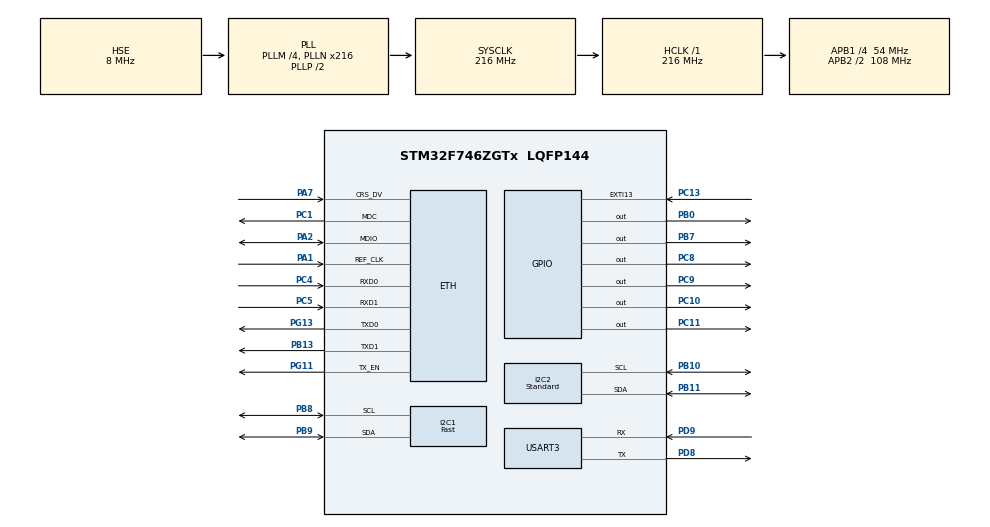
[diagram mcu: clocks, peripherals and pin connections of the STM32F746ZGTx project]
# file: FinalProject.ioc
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CORTEX_M7.CPU_DCache=Enabled
CORTEX_M7.CPU_ICache=Enabled
ETH.MediaInterface=HAL_ETH_RMII_MODE
I2C1.I2C_Speed_Mode=I2C_Fast
I2C1.Timing=0x6000030D
I2C2.I2C_Speed_Mode=I2C_Standard
I2C2.Timing=0x20404768
LWIP.BSP.number=1
LWIP.GATEWAY_ADDRESS=010.000.002.015
LWIP.IP_ADDRESS=010.000.002.010
LWIP.LWIP_DHCP=0
LWIP.LWIP_HTTPD=1
LWIP.LWIP_HTTPD_CGI=1
LWIP.MEM_SIZE=1024*10
LWIP.NETMASK_ADDRESS=255.255.255.000
LWIP.Version=v2.1.2_Cube
LWIP0.BSP.STBoard=false
LWIP0.BSP.api=BSP_COMPONENT_DRIVER
LWIP0.BSP.component=LAN8742
LWIP0.BSP.instance=LAN8742
LWIP0.BSP.name=Driver_PHY
LWIP0.BSP.semaphore=S_LAN8742
LWIP0.BSP.solution=LAN8742
Mcu.Family=STM32F7
Mcu.Name=STM32F746ZGTx
Mcu.Package=LQFP144
NVIC.EXTI15_10_IRQn=true\:0\:0\:false\:false\:true\:true\:true\:true
NVIC.PriorityGroup=NVIC_PRIORITYGROUP_4
NVIC.TIM1_UP_TIM10_IRQn=true\:0\:0\:false\:false\:true\:true\:true\:true
NVIC.TIM2_IRQn=true\:0\:0\:false\:false\:true\:true\:true\:true
NVIC.TIM3_IRQn=true\:0\:0\:false\:false\:true\:true\:true\:true
NVIC.TIM4_IRQn=true\:0\:0\:false\:false\:true\:true\:true\:true
NVIC.TIM5_IRQn=true\:0\:0\:false\:false\:true\:true\:true\:true
PA1.Mode=RMII
PA1.Signal=ETH_REF_CLK
PA2.Mode=RMII
PA2.Signal=ETH_MDIO
PA7.Mode=RMII
PA7.Signal=ETH_CRS_DV
PB0.Signal=GPIO_Output
PB10.GPIO_Pu=GPIO_PULLUP
PB10.Mode=I2C
PB10.Signal=I2C2_SCL
PB11.GPIO_Pu=GPIO_PULLUP
PB11.Mode=I2C
PB11.Signal=I2C2_SDA
PB13.Mode=RMII
PB13.Signal=ETH_TXD1
PB7.Signal=GPIO_Output
PB8.Mode=I2C
PB8.Signal=I2C1_SCL
PB9.Mode=I2C
PB9.Signal=I2C1_SDA
PC1.Mode=RMII
PC1.Signal=ETH_MDC
PC10.Signal=GPIO_Output
PC11.Signal=GPIO_Output
PC13.Signal=GPXTI13
PC14/OSC32_IN.Mode=LSE-External-Oscillator
PC14/OSC32_IN.Signal=RCC_OSC32_IN
PC15/OSC32_OUT.Mode=LSE-External-Oscillator
PC15/OSC32_OUT.Signal=RCC_OSC32_OUT
PC4.Mode=RMII
PC4.Signal=ETH_RXD0
PC5.Mode=RMII
PC5.Signal=ETH_RXD1
PC8.Signal=GPIO_Output
PC9.Signal=GPIO_Output
PD8.Mode=Asynchronous
PD8.Signal=USART3_TX
PD9.Mode=Asynchronous
PD9.Signal=USART3_RX
PG11.Mode=RMII
PG11.Signal=ETH_TX_EN
PG13.Mode=RMII
PG13.Signal=ETH_TXD0
PH0/OSC_IN.Mode=HSE-External-Clock-Source
PH0/OSC_IN.Signal=RCC_OSC_IN
PH1/OSC_OUT.Mode=HSE-External-Clock-Source
PH1/OSC_OUT.Signal=RCC_OSC_OUT
ProjectManager.HeapSize=0x200
ProjectManager.StackSize=0x400
ProjectManager.TargetToolchain=STM32CubeIDE
RCC.48MHZClocksFreq_Value=24000000
RCC.AHBFreq_Value=216000000
RCC.APB1CLKDivider=RCC_HCLK_DIV4
RCC.APB1Freq_Value=54000000
RCC.APB1TimFreq_Value=108000000
RCC.APB2CLKDivider=RCC_HCLK_DIV2
RCC.APB2Freq_Value=108000000
RCC.APB2TimFreq_Value=216000000
RCC.CortexFreq_Value=216000000
RCC.HCLKFreq_Value=216000000
RCC.HSE_VALUE=8000000
RCC.HSI_VALUE=16000000
RCC.PLLM=4
RCC.PLLMUL=RCC_PLL_MUL9
RCC.PLLN=216
RCC.PLLSourceVirtual=RCC_PLLSOURCE_HSE
RCC.PRESCALERUSB=RCC_USBCLKSOURCE_PLL_DIV1_5
RCC.SYSCLKFreq_VALUE=216000000
RCC.SYSCLKSource=RCC_SYSCLKSOURCE_PLLCLK
RCC.SYSCLKSourceVirtual=RCC_SYSCLKSOURCE_PLLCLK
RCC.USBFreq_Value=216000000
RCC.VCOOutputFreq_Value=432000000
TIM1.Period=50000-1
TIM1.Prescaler=43200-1
TIM2.AutoReloadPreload=TIM_AUTORELOAD_PRELOAD_ENABLE
TIM2.Period=21600000-1
TIM2.Prescaler=0
TIM3.AutoReloadPreload=TIM_AUTORELOAD_PRELOAD_DISABLE
TIM3.Period=10000-1
TIM3.Prescaler=43200-1
TIM4.AutoReloadPreload=TIM_AUTORELOAD_PRELOAD_ENABLE
TIM4.Period=25500-1
TIM4.Prescaler=49463-1
TIM5.AutoReloadPreload=TIM_AUTORELOAD_PRELOAD_DISABLE
TIM5.Period=10000-1
TIM5.Prescaler=43200-1
USART3.VirtualMode-Asynchronous=VM_ASYNC
VP_LWIP_VS_Enabled.Mode=Enabled
VP_TIM1_VS_ClockSourceINT.Mode=Internal
VP_TIM2_VS_ClockSourceINT.Mode=Internal
VP_TIM3_VS_ClockSourceINT.Mode=Internal
VP_TIM4_VS_ClockSourceINT.Mode=Internal
VP_TIM5_VS_ClockSourceINT.Mode=Internal
board=NUCLEO-F746ZG

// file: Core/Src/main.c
/*
 *  MAIN FILE
 *  Author: GateKeeper
 *  Copyright (C) 2024
*/

/* USER CODE BEGIN Header */
/* USER CODE END Header */

#include "main.h"
#include "lwip.h"

/* USER CODE BEGIN Includes */
#include "string.h"
#include "stdio.h"
#include "math.h"
#include "bme680.h"
#include "bme680_defs.h"
#include "http_ssi.h"
#include "lwip/apps/httpd.h"
#include "pn532.h"
#include "pn532_stm32f1.h"
#include "udpClientRAW.h"
#include "IPs.h"
/* USER CODE END Includes */

I2C_HandleTypeDef hi2c1;
I2C_HandleTypeDef hi2c2;

TIM_HandleTypeDef htim1;
TIM_HandleTypeDef htim2;
TIM_HandleTypeDef htim3;
TIM_HandleTypeDef htim4;
TIM_HandleTypeDef htim5;

UART_HandleTypeDef huart3;

/* USER CODE BEGIN PV */

// BME680 Variables
int8_t rslt = BME680_OK;
int IAQ;
struct bme680_dev gas_sensor;
int gas_target = 30000;
int BME_Presence = 0; // Means BME is off

// RFID PN532 Variables
PN532 pn532;
struct bme680_field_data data; // Sampling results variable
uint8_t buff[255];
int32_t uid_len = 0;
uint8_t uid[MIFARE_UID_MAX_LENGTH];
uint8_t key_a[] = {0xFF, 0xFF, 0xFF, 0xFF, 0xFF, 0xFF};
uint32_t pn532_error = PN532_ERROR_NONE;
int RFID_Presence = 0; // Means RFID reader is off
int TAG_Read = 0;

// Server Status Variables
int client_connected = 0;
int message_type;
struct udp_pcb *upcb;
int emergencyFlag = 0;
int People_Counter = 0;

/* USER CODE END PV */

void SystemClock_Config(void);
static void MX_GPIO_Init(void);
static void MX_I2C1_Init(void);
static void MX_USART3_UART_Init(void);
static void MX_TIM1_Init(void);
static void MX_I2C2_Init(void);
static void MX_TIM3_Init(void);
static void MX_TIM2_Init(void);
static void MX_TIM4_Init(void);
static void MX_TIM5_Init(void);
/* USER CODE BEGIN PFP */

// BME680 Forward Declarations
int8_t bme680I2cRead(uint8_t dev_id, uint8_t reg_addr, uint8_t *reg_data, uint16_t len);
int8_t bme680I2cWrite(uint8_t dev_id, uint8_t reg_addr, uint8_t *reg_data, uint16_t len);

// Functions Declarations
void BME680_Initialize();
void RFID_PN532_Initialize();
void Open_Door(int emergency, int InOut);

#ifdef __GNUC__
#define PUTCHAR_PROTOTYPE int __io_putchar(int ch)
#else
#define PUTCHAR_PROTOTYPE int fputc(int ch, FILE *f)
#endif

PUTCHAR_PROTOTYPE
{
  HAL_UART_Transmit(&huart3, (uint8_t *)&ch, 1, HAL_MAX_DELAY);
  return ch;
}

/* USER CODE END PFP */

int main(void)
{

  /* Enable the CPU Cache */

  /* Enable I-Cache---------------------------------------------------------*/
  SCB_EnableICache();

  /* Enable D-Cache---------------------------------------------------------*/
  SCB_EnableDCache();

  /* MCU Configuration--------------------------------------------------------*/

  /* Reset of all peripherals, Initializes the Flash interface and the Systick. */
  HAL_Init();

  /* Configure the system clock */
  SystemClock_Config();

  /* Initialize all configured peripherals */
  MX_GPIO_Init();
  MX_LWIP_Init();
  MX_I2C1_Init();
  MX_USART3_UART_Init();
  MX_TIM1_Init();
  MX_I2C2_Init();
  MX_TIM3_Init();
  MX_TIM2_Init();
  MX_TIM4_Init();
  MX_TIM5_Init();
  /* USER CODE BEGIN 2 */

  extern struct netif gnetif;
  http_server_init();
  HAL_TIM_Base_Start_IT(&htim1);

  // ----------------------- DEVICES CONFIG START -----------------------
  BME680_Initialize();
  RFID_PN532_Initialize();
  int HTML_Server_ON = 1;
  // ------------------------ DEVICES CONFIG END ------------------------

  // ------------------ IP WEBSITE CONFIG START -------------------
  if (HTML_Server_ON) {
	  printf("\n\rActual board IP:");
	  printf("\n\rIPv4: %d.%d.%d.%d",ipv4_address[0],ipv4_address[1],ipv4_address[2],ipv4_address[3]);
	  printf("\n\rMask: %d.%d.%d.%d",mask_address[0],mask_address[1],mask_address[2],mask_address[3]);
	  printf("\n\rGateway: %d.%d.%d.%d\n\r",gateway_address[0],gateway_address[1],gateway_address[2],gateway_address[3]);
	  do {
		  ethernetif_input(&gnetif);
		  MX_LWIP_Process();
	  } while(changed_ip_status == 0);
	  printf("\n\rNew board IP:");
	  printf("\n\rIPv4: %d.%d.%d.%d",ipv4_address[0],ipv4_address[1],ipv4_address[2],ipv4_address[3]);
	  printf("\n\rMask: %d.%d.%d.%d",mask_address[0],mask_address[1],mask_address[2],mask_address[3]);
	  printf("\n\rGateway: %d.%d.%d.%d\n\r",gateway_address[0],gateway_address[1],gateway_address[2],gateway_address[3]);
	  // -------------------- IP WEBSITE CONFIG END --------------------
	  netif_remove(&gnetif);
	  MX_LWIP_Init();
	  udpClient_connect();
  }

  HAL_TIM_Base_Start_IT(&htim2);
  HAL_TIM_Base_Start_IT(&htim3);
  HAL_TIM_Base_Start_IT(&htim4);
  HAL_TIM_Base_Start_IT(&htim5);
  /* USER CODE END 2 */

  /* Infinite loop */
  /* USER CODE BEGIN WHILE */

  while (1) {
	  ethernetif_input(&gnetif);
	  sys_check_timeouts();
	  if(RFID_Presence == 1 || client_connected == 1) {
		uid_len = PN532_ReadPassiveTarget(&pn532, uid, PN532_MIFARE_ISO14443A, 1000);
		if (uid_len != PN532_STATUS_ERROR) {
			// Uncomment below if want to read UID without the memory blocks
			/*printf("Found card with UID: ");
			  memset(message,0,keyLen);
			  for (uint8_t i = 0; i < uid_len; i++) {
				printf("%02x ", uid[i]);
				sprintf(message,"%s%02x",message,uid[i]);
			  }*/
		  memset(message, 0, keyLen);
		  for (uint8_t block_number = 0; block_number < 1; block_number++) {
			pn532_error = PN532_MifareClassicAuthenticateBlock(&pn532, uid, uid_len, block_number, MIFARE_CMD_AUTH_A, key_a);
			if (pn532_error != PN532_ERROR_NONE) break;
			pn532_error = PN532_MifareClassicReadBlock(&pn532, buff, block_number);
			if (pn532_error != PN532_ERROR_NONE) break;
			if ((pn532_error != 0x02) &&  (buff[0] != 0x00 && buff[1] != 0x00)) {	// Verifies if there were not any errors during the block reading
				TAG_Read = 1;	// A tag is being read
				printf("%d: ", block_number);
			    for (uint8_t i = 0; i < 16; i++) {
				  printf("%02x ", buff[i]);
				  sprintf(message,"%s%02x",message,buff[i]);
			    }
			    printf("\r\n");
			} else {
				break;
			}
		  }
		  message_type = 1;	// Message will be sent has ID Information
		  if (TAG_Read == 1) {
			  if (HTML_Server_ON) udpClient_send();
			  RFID_Received = 0;	// It will wait for a reply from the server
			  HAL_Delay(1000);
			  TAG_Read = 0;	// A new card is now ready to be read
		  }
		}
	  }

    /* USER CODE END WHILE */

  }
}

void SystemClock_Config(void)
{
  RCC_OscInitTypeDef RCC_OscInitStruct = {0};
  RCC_ClkInitTypeDef RCC_ClkInitStruct = {0};

  /** Configure LSE Drive Capability
  */
  HAL_PWR_EnableBkUpAccess();

  /** Configure the main internal regulator output voltage
  */
  __HAL_RCC_PWR_CLK_ENABLE();
  __HAL_PWR_VOLTAGESCALING_CONFIG(PWR_REGULATOR_VOLTAGE_SCALE1);

  /** Initializes the RCC Oscillators according to the specified parameters
  * in the RCC_OscInitTypeDef structure.
  */
  RCC_OscInitStruct.OscillatorType = RCC_OSCILLATORTYPE_HSE;
  RCC_OscInitStruct.HSEState = RCC_HSE_BYPASS;
  RCC_OscInitStruct.PLL.PLLState = RCC_PLL_ON;
  RCC_OscInitStruct.PLL.PLLSource = RCC_PLLSOURCE_HSE;
  RCC_OscInitStruct.PLL.PLLM = 4;
  RCC_OscInitStruct.PLL.PLLN = 216;
  RCC_OscInitStruct.PLL.PLLP = RCC_PLLP_DIV2;
  RCC_OscInitStruct.PLL.PLLQ = 2;
  if (HAL_RCC_OscConfig(&RCC_OscInitStruct) != HAL_OK)
  {
    Error_Handler();
  }

  /** Activate the Over-Drive mode
  */
  if (HAL_PWREx_EnableOverDrive() != HAL_OK)
  {
    Error_Handler();
  }

  /** Initializes the CPU, AHB and APB buses clocks
  */
  RCC_ClkInitStruct.ClockType = RCC_CLOCKTYPE_HCLK|RCC_CLOCKTYPE_SYSCLK
                              |RCC_CLOCKTYPE_PCLK1|RCC_CLOCKTYPE_PCLK2;
  RCC_ClkInitStruct.SYSCLKSource = RCC_SYSCLKSOURCE_PLLCLK;
  RCC_ClkInitStruct.AHBCLKDivider = RCC_SYSCLK_DIV1;
  RCC_ClkInitStruct.APB1CLKDivider = RCC_HCLK_DIV4;
  RCC_ClkInitStruct.APB2CLKDivider = RCC_HCLK_DIV2;

  if (HAL_RCC_ClockConfig(&RCC_ClkInitStruct, FLASH_LATENCY_7) != HAL_OK)
  {
    Error_Handler();
  }
}

static void MX_I2C1_Init(void)
{

  hi2c1.Instance = I2C1;
  hi2c1.Init.Timing = 0x6000030D;
  hi2c1.Init.OwnAddress1 = 0;
  hi2c1.Init.AddressingMode = I2C_ADDRESSINGMODE_7BIT;
  hi2c1.Init.DualAddressMode = I2C_DUALADDRESS_DISABLE;
  hi2c1.Init.OwnAddress2 = 0;
  hi2c1.Init.OwnAddress2Masks = I2C_OA2_NOMASK;
  hi2c1.Init.GeneralCallMode = I2C_GENERALCALL_DISABLE;
  hi2c1.Init.NoStretchMode = I2C_NOSTRETCH_DISABLE;
  if (HAL_I2C_Init(&hi2c1) != HAL_OK)
  {
    Error_Handler();
  }

  /** Configure Analogue filter
  */
  if (HAL_I2CEx_ConfigAnalogFilter(&hi2c1, I2C_ANALOGFILTER_ENABLE) != HAL_OK)
  {
    Error_Handler();
  }

  /** Configure Digital filter
  */
  if (HAL_I2CEx_ConfigDigitalFilter(&hi2c1, 0) != HAL_OK)
  {
    Error_Handler();
  }

}

static void MX_I2C2_Init(void)
{

  hi2c2.Instance = I2C2;
  hi2c2.Init.Timing = 0x20404768;
  hi2c2.Init.OwnAddress1 = 0;
  hi2c2.Init.AddressingMode = I2C_ADDRESSINGMODE_7BIT;
  hi2c2.Init.DualAddressMode = I2C_DUALADDRESS_DISABLE;
  hi2c2.Init.OwnAddress2 = 0;
  hi2c2.Init.OwnAddress2Masks = I2C_OA2_NOMASK;
  hi2c2.Init.GeneralCallMode = I2C_GENERALCALL_DISABLE;
  hi2c2.Init.NoStretchMode = I2C_NOSTRETCH_DISABLE;
  if (HAL_I2C_Init(&hi2c2) != HAL_OK)
  {
    Error_Handler();
  }

  /** Configure Analogue filter
  */
  if (HAL_I2CEx_ConfigAnalogFilter(&hi2c2, I2C_ANALOGFILTER_ENABLE) != HAL_OK)
  {
    Error_Handler();
  }

  /** Configure Digital filter
  */
  if (HAL_I2CEx_ConfigDigitalFilter(&hi2c2, 0) != HAL_OK)
  {
    Error_Handler();
  }

}

static void MX_TIM1_Init(void)
{

  TIM_ClockConfigTypeDef sClockSourceConfig = {0};
  TIM_MasterConfigTypeDef sMasterConfig = {0};

  htim1.Instance = TIM1;
  htim1.Init.Prescaler = 43200-1;
  htim1.Init.CounterMode = TIM_COUNTERMODE_UP;
  htim1.Init.Period = 50000-1;
  htim1.Init.ClockDivision = TIM_CLOCKDIVISION_DIV1;
  htim1.Init.RepetitionCounter = 0;
  htim1.Init.AutoReloadPreload = TIM_AUTORELOAD_PRELOAD_DISABLE;
  if (HAL_TIM_Base_Init(&htim1) != HAL_OK)
  {
    Error_Handler();
  }
  sClockSourceConfig.ClockSource = TIM_CLOCKSOURCE_INTERNAL;
  if (HAL_TIM_ConfigClockSource(&htim1, &sClockSourceConfig) != HAL_OK)
  {
    Error_Handler();
  }
  sMasterConfig.MasterOutputTrigger = TIM_TRGO_RESET;
  sMasterConfig.MasterOutputTrigger2 = TIM_TRGO2_RESET;
  sMasterConfig.MasterSlaveMode = TIM_MASTERSLAVEMODE_DISABLE;
  if (HAL_TIMEx_MasterConfigSynchronization(&htim1, &sMasterConfig) != HAL_OK)
  {
    Error_Handler();
  }

}

static void MX_TIM2_Init(void)
{

  TIM_ClockConfigTypeDef sClockSourceConfig = {0};
  TIM_MasterConfigTypeDef sMasterConfig = {0};

  htim2.Instance = TIM2;
  htim2.Init.Prescaler = 0;
  htim2.Init.CounterMode = TIM_COUNTERMODE_UP;
  htim2.Init.Period = 21600000-1;
  htim2.Init.ClockDivision = TIM_CLOCKDIVISION_DIV1;
  htim2.Init.AutoReloadPreload = TIM_AUTORELOAD_PRELOAD_ENABLE;
  if (HAL_TIM_Base_Init(&htim2) != HAL_OK)
  {
    Error_Handler();
  }
  sClockSourceConfig.ClockSource = TIM_CLOCKSOURCE_INTERNAL;
  if (HAL_TIM_ConfigClockSource(&htim2, &sClockSourceConfig) != HAL_OK)
  {
    Error_Handler();
  }
  sMasterConfig.MasterOutputTrigger = TIM_TRGO_RESET;
  sMasterConfig.MasterSlaveMode = TIM_MASTERSLAVEMODE_DISABLE;
  if (HAL_TIMEx_MasterConfigSynchronization(&htim2, &sMasterConfig) != HAL_OK)
  {
    Error_Handler();
  }

}

static void MX_TIM3_Init(void)
{

  TIM_ClockConfigTypeDef sClockSourceConfig = {0};
  TIM_MasterConfigTypeDef sMasterConfig = {0};

  htim3.Instance = TIM3;
  htim3.Init.Prescaler = 43200-1;
  htim3.Init.CounterMode = TIM_COUNTERMODE_UP;
  htim3.Init.Period = 10000-1;
  htim3.Init.ClockDivision = TIM_CLOCKDIVISION_DIV1;
  htim3.Init.AutoReloadPreload = TIM_AUTORELOAD_PRELOAD_DISABLE;
  if (HAL_TIM_Base_Init(&htim3) != HAL_OK)
  {
    Error_Handler();
  }
  sClockSourceConfig.ClockSource = TIM_CLOCKSOURCE_INTERNAL;
  if (HAL_TIM_ConfigClockSource(&htim3, &sClockSourceConfig) != HAL_OK)
  {
    Error_Handler();
  }
  sMasterConfig.MasterOutputTrigger = TIM_TRGO_RESET;
  sMasterConfig.MasterSlaveMode = TIM_MASTERSLAVEMODE_DISABLE;
  if (HAL_TIMEx_MasterConfigSynchronization(&htim3, &sMasterConfig) != HAL_OK)
  {
    Error_Handler();
  }

}

static void MX_TIM4_Init(void)
{

  TIM_ClockConfigTypeDef sClockSourceConfig = {0};
  TIM_MasterConfigTypeDef sMasterConfig = {0};

  htim4.Instance = TIM4;
  htim4.Init.Prescaler = 49463-1;
  htim4.Init.CounterMode = TIM_COUNTERMODE_UP;
  htim4.Init.Period = 25500-1;
  htim4.Init.ClockDivision = TIM_CLOCKDIVISION_DIV1;
  htim4.Init.AutoReloadPreload = TIM_AUTORELOAD_PRELOAD_ENABLE;
  if (HAL_TIM_Base_Init(&htim4) != HAL_OK)
  {
    Error_Handler();
  }
  sClockSourceConfig.ClockSource = TIM_CLOCKSOURCE_INTERNAL;
  if (HAL_TIM_ConfigClockSource(&htim4, &sClockSourceConfig) != HAL_OK)
  {
    Error_Handler();
  }
  sMasterConfig.MasterOutputTrigger = TIM_TRGO_RESET;
  sMasterConfig.MasterSlaveMode = TIM_MASTERSLAVEMODE_DISABLE;
  if (HAL_TIMEx_MasterConfigSynchronization(&htim4, &sMasterConfig) != HAL_OK)
  {
    Error_Handler();
  }

}

static void MX_TIM5_Init(void)
{

  TIM_ClockConfigTypeDef sClockSourceConfig = {0};
  TIM_MasterConfigTypeDef sMasterConfig = {0};

  htim5.Instance = TIM5;
  htim5.Init.Prescaler = 43200-1;
  htim5.Init.CounterMode = TIM_COUNTERMODE_UP;
  htim5.Init.Period = 10000-1;
  htim5.Init.ClockDivision = TIM_CLOCKDIVISION_DIV1;
  htim5.Init.AutoReloadPreload = TIM_AUTORELOAD_PRELOAD_DISABLE;
  if (HAL_TIM_Base_Init(&htim5) != HAL_OK)
  {
    Error_Handler();
  }
  sClockSourceConfig.ClockSource = TIM_CLOCKSOURCE_INTERNAL;
  if (HAL_TIM_ConfigClockSource(&htim5, &sClockSourceConfig) != HAL_OK)
  {
    Error_Handler();
  }
  sMasterConfig.MasterOutputTrigger = TIM_TRGO_RESET;
  sMasterConfig.MasterSlaveMode = TIM_MASTERSLAVEMODE_DISABLE;
  if (HAL_TIMEx_MasterConfigSynchronization(&htim5, &sMasterConfig) != HAL_OK)
  {
    Error_Handler();
  }

}

static void MX_USART3_UART_Init(void)
{

  huart3.Instance = USART3;
  huart3.Init.BaudRate = 115200;
  huart3.Init.WordLength = UART_WORDLENGTH_8B;
  huart3.Init.StopBits = UART_STOPBITS_1;
  huart3.Init.Parity = UART_PARITY_NONE;
  huart3.Init.Mode = UART_MODE_TX_RX;
  huart3.Init.HwFlowCtl = UART_HWCONTROL_NONE;
  huart3.Init.OverSampling = UART_OVERSAMPLING_16;
  huart3.Init.OneBitSampling = UART_ONE_BIT_SAMPLE_DISABLE;
  huart3.AdvancedInit.AdvFeatureInit = UART_ADVFEATURE_NO_INIT;
  if (HAL_UART_Init(&huart3) != HAL_OK)
  {
    Error_Handler();
  }

}

static void MX_GPIO_Init(void)
{
  GPIO_InitTypeDef GPIO_InitStruct = {0};

  /* GPIO Ports Clock Enable */
  __HAL_RCC_GPIOC_CLK_ENABLE();
  __HAL_RCC_GPIOH_CLK_ENABLE();
  __HAL_RCC_GPIOA_CLK_ENABLE();
  __HAL_RCC_GPIOB_CLK_ENABLE();
  __HAL_RCC_GPIOD_CLK_ENABLE();
  __HAL_RCC_GPIOG_CLK_ENABLE();

  /*Configure GPIO pin Output Level */
  HAL_GPIO_WritePin(GPIOB, GPIO_PIN_0|GPIO_PIN_7, GPIO_PIN_RESET);

  /*Configure GPIO pin Output Level */
  HAL_GPIO_WritePin(GPIOC, GPIO_PIN_8|GPIO_PIN_9|GPIO_PIN_10|GPIO_PIN_11, GPIO_PIN_RESET);

  /*Configure GPIO pin : PC13 */
  GPIO_InitStruct.Pin = GPIO_PIN_13;
  GPIO_InitStruct.Mode = GPIO_MODE_IT_RISING;
  GPIO_InitStruct.Pull = GPIO_NOPULL;
  HAL_GPIO_Init(GPIOC, &GPIO_InitStruct);

  /*Configure GPIO pins : PB0 PB7 */
  GPIO_InitStruct.Pin = GPIO_PIN_0|GPIO_PIN_7;
  GPIO_InitStruct.Mode = GPIO_MODE_OUTPUT_PP;
  GPIO_InitStruct.Pull = GPIO_NOPULL;
  GPIO_InitStruct.Speed = GPIO_SPEED_FREQ_LOW;
  HAL_GPIO_Init(GPIOB, &GPIO_InitStruct);

  /*Configure GPIO pins : PC8 PC9 PC10 PC11 */
  GPIO_InitStruct.Pin = GPIO_PIN_8|GPIO_PIN_9|GPIO_PIN_10|GPIO_PIN_11;
  GPIO_InitStruct.Mode = GPIO_MODE_OUTPUT_PP;
  GPIO_InitStruct.Pull = GPIO_NOPULL;
  GPIO_InitStruct.Speed = GPIO_SPEED_FREQ_LOW;
  HAL_GPIO_Init(GPIOC, &GPIO_InitStruct);

  /* EXTI interrupt init*/
  HAL_NVIC_SetPriority(EXTI15_10_IRQn, 0, 0);
  HAL_NVIC_EnableIRQ(EXTI15_10_IRQn);

}

/* USER CODE BEGIN 4 */

void HAL_TIM_PeriodElapsedCallback(TIM_HandleTypeDef *htim)
{
  // Check which version of the timer triggered this callback

  if (htim == &htim1 && BME_Presence == 1)	// 10 sec timer to read BME data
  {
	// Query the sample data
	rslt = bme680_get_sensor_data(&data, &gas_sensor);

	printf("\n\r----------Data read----------");
	printf("\n\rTemperature:    %.2fºC", data.temperature / 100.0f);
	printf("\n\rAtm. Pressure:  %.2f hPa", data.pressure / 100.0f);
	printf("\n\rHumidity:       %.2f %%", data.humidity / 1000.0f );
	printf("\n\rGas Resistance: %ld ohms", data.gas_resistance);

	IAQ = CalculateIAQ(data.temperature,data.humidity,data.gas_resistance);

	if (IAQ <= 2 && client_connected == 1) {	// IAQ less than 3 is a bad air quality, mandatory to trigger the Emergency System
		sprintf(message,"9Emergency\0");
		udpClient_send();
	}

	printf("\n\rAir Quality:    %d", IAQ);
	printf("\n\r-----------------------------\n\r");
	sprintf(message,"2%d %d %d %d %d \0",data.temperature,data.pressure,data.humidity,IAQ,People_Counter);
	//printf("\n\rMessage to send: %s\n\r",message);
	if (client_connected == 1) {
		message_type = 2;
		udpClient_send();
	}

	// Request the next sample
	if (gas_sensor.power_mode == BME680_FORCED_MODE) {
	  rslt = bme680_set_sensor_mode(&gas_sensor);
	}

  }

  if(htim == &htim2) {	// 100 msec timer to read any Emergency situation that can be sent by the server
	  receiver();
  }

  if(htim == &htim3) {	// 5 sec timer to close the door after it has been opened
	  // Close door and restore the normal state
	  //HAL_GPIO_WritePin(GPIOB,GPIO_PIN_0,0);
	  HAL_GPIO_WritePin(GPIOC,GPIO_PIN_8,0);
	  HAL_GPIO_WritePin(GPIOC,GPIO_PIN_9,0);
	  HAL_GPIO_WritePin(GPIOC,GPIO_PIN_10,0);
	  HAL_TIM_Base_Stop(&htim3);
  }

  if(htim == &htim4) {	// 15 sec timer to cancel the Emergency System
	  // Cancel Emergency and restore the normal state
	  emergencyFlag = 0;	// Disable Emergency Flag
	  //HAL_GPIO_WritePin(GPIOB,GPIO_PIN_0,0);
  	  HAL_GPIO_WritePin(GPIOC,GPIO_PIN_8,0);
  	  HAL_GPIO_WritePin(GPIOC,GPIO_PIN_9,0);
  	  HAL_GPIO_WritePin(GPIOC,GPIO_PIN_10,0);
  	  HAL_TIM_Base_Stop(&htim4);
  }

  if(htim == &htim5) {	// 5 sec timer to turn off the Not Access Led
	  HAL_GPIO_WritePin(GPIOC,GPIO_PIN_11,0);
	  HAL_TIM_Base_Stop(&htim5);
  }
}

int8_t bme680I2cRead(uint8_t dev_id, uint8_t reg_addr, uint8_t *reg_data, uint16_t len) {
  int8_t result;

  if (HAL_I2C_Master_Transmit(&hi2c1, (dev_id << 1), &reg_addr, 1, HAL_MAX_DELAY) != HAL_OK) {
	result = -1;
  } else if (HAL_I2C_Master_Receive (&hi2c1, (dev_id << 1) | 0x01, reg_data, len, HAL_MAX_DELAY) != HAL_OK) {
	result = -1;
  } else {
	result = 0;
  }

  return result;
}

int8_t bme680I2cWrite(uint8_t dev_id, uint8_t reg_addr, uint8_t *reg_data, uint16_t len) {
  int8_t result;
  int8_t *buf;

  // Allocate and load I2C transmit buffer
  buf = malloc(len + 1);
  buf[0] = reg_addr;
  memcpy(buf + 1, reg_data, len);

  if (HAL_I2C_Master_Transmit(&hi2c1, (dev_id << 1), (uint8_t *) buf, len + 1, HAL_MAX_DELAY) != HAL_OK) {
	result = -1;
  } else {
	result = 0;
  }

  free(buf);
  return result;
}

void BME680_Initialize() {
  // Configure the BME680 driver
  gas_sensor.dev_id = BME680_I2C_ADDR_PRIMARY;
  gas_sensor.intf = BME680_I2C_INTF;
  gas_sensor.read = bme680I2cRead;
  gas_sensor.write = bme680I2cWrite;
  gas_sensor.delay_ms = HAL_Delay;
  gas_sensor.amb_temp = 25;

  // Initialize the driver
  if (bme680_init(&gas_sensor) != BME680_OK) {
	char bme_msg[] = "\n\rBME680 Initialization Error\r\n";
	printf("%s", bme_msg);
  } else {
	char bme_msg[] = "\n\rBME680 Initialized and Ready\r\nCalibration Startup\r\n";
	printf("%s", bme_msg);
  }

  // Select desired oversampling rates
  gas_sensor.tph_sett.os_hum = BME680_OS_2X;
  gas_sensor.tph_sett.os_pres = BME680_OS_4X;
  gas_sensor.tph_sett.os_temp = BME680_OS_8X;
  gas_sensor.tph_sett.filter = BME680_FILTER_SIZE_3;

  gas_sensor.gas_sett.run_gas = BME680_ENABLE_GAS_MEAS;
  gas_sensor.gas_sett.heatr_temp = 320;
  gas_sensor.gas_sett.heatr_dur = 150;

  // Set sensor to "always on"
  gas_sensor.power_mode = BME680_FORCED_MODE;

  // Set oversampling settings
  static uint8_t required_settings = (BME680_OST_SEL | BME680_OSP_SEL | BME680_OSH_SEL | BME680_FILTER_SEL | BME680_GAS_SENSOR_SEL);
  rslt = bme680_set_sensor_settings(required_settings, &gas_sensor);

  // Set sensor mode
  rslt = bme680_set_sensor_mode(&gas_sensor);

  // Query minimum sampling period
  static uint16_t min_sampling_period;
  bme680_get_profile_dur(&min_sampling_period, &gas_sensor);

  // BME preparation and calibration in order to heat up the module to read the right values
  int readings = 100;
  for (int i = 1; i <= readings + 3; i++) {
	if (gas_sensor.power_mode == BME680_FORCED_MODE) bme680_set_sensor_mode(&gas_sensor);
	bme680_get_sensor_data(&data, &gas_sensor);
	//printf("\r\nValue %d : %ld",i,data.gas_resistance);
	if(i > 3 && data.gas_resistance > gas_target) {
		break;
	}
	HAL_Delay(100);
  }
  printf("\n\rBME Initialized\n\r");
  BME_Presence = 1;
}

void RFID_PN532_Initialize() {
  // Configure RFID Driver
  PN532_I2C_Init(&pn532);
  PN532_GetFirmwareVersion(&pn532, buff);
  if (PN532_GetFirmwareVersion(&pn532, buff) == PN532_STATUS_OK) {
	printf("\n\rFound PN532 with firmware version: %d.%d", buff[1], buff[2]);
  } else {
	return;
  }
  PN532_SamConfiguration(&pn532);
  printf("\n\rPN532 Initialized");
  printf("\n\rWaiting for RFID/NFC card...\r\n");
  RFID_Presence = 1;
}

void HAL_GPIO_EXTI_Callback(uint16_t GPIO_Pin)	// Interrupt for when C13 button is pressed
{
    if (GPIO_Pin == GPIO_PIN_13) {
	  Open_Door(0,1);	// Meaning it is exiting the room (no emergency)
    }
}

void Open_Door(int emergency, int InOut) {
	// Open the door
	//HAL_GPIO_WritePin(GPIOB,GPIO_PIN_0,1);
	HAL_GPIO_WritePin(GPIOC,GPIO_PIN_8,1);

	if(emergency == 0 && emergencyFlag == 0 && InOut == 0) {	// Normal opening of door from outside to inside
		TIM3 -> CNT = 0;
		HAL_TIM_Base_Start(&htim3);
		HAL_GPIO_WritePin(GPIOC,GPIO_PIN_9,1);
		HAL_GPIO_WritePin(GPIOC,GPIO_PIN_10,0);
		HAL_GPIO_WritePin(GPIOC,GPIO_PIN_11,0);
		// Turn on outside Green LED meaning the person can enter the room
	}
	else if (emergency == 1) {	// Emergency opening of door
		emergencyFlag = 1;
		TIM4 -> CNT = 0;
		HAL_TIM_Base_Start(&htim4);
		HAL_GPIO_WritePin(GPIOC,GPIO_PIN_9,1);
		HAL_GPIO_WritePin(GPIOC,GPIO_PIN_10,0);
		HAL_GPIO_WritePin(GPIOC,GPIO_PIN_11,0);
		// Turn on outside Green LED meaning the person can enter the room
	}

	if (InOut == 0) { 			// 0 - In
		People_Counter++;
	} else if (InOut == 1) { 	// 1 - Out
		People_Counter--;
		TIM3 -> CNT = 0;
		HAL_TIM_Base_Start(&htim3);
		HAL_GPIO_WritePin(GPIOC,GPIO_PIN_9,0);
		HAL_GPIO_WritePin(GPIOC,GPIO_PIN_10,1);
		HAL_GPIO_WritePin(GPIOC,GPIO_PIN_11,0);
		// Turn on inside Green LED meaning the person will exit the room
	} else {
		People_Counter = 0;		// 2 - Emergency (all people exit the room)
	}
	//printf("\n\rPeople Counter: %d\n\r", People_Counter);
}

/* USER CODE END 4 */

void Error_Handler(void)
{
  __disable_irq();
  while (1)
  {
  }
}
